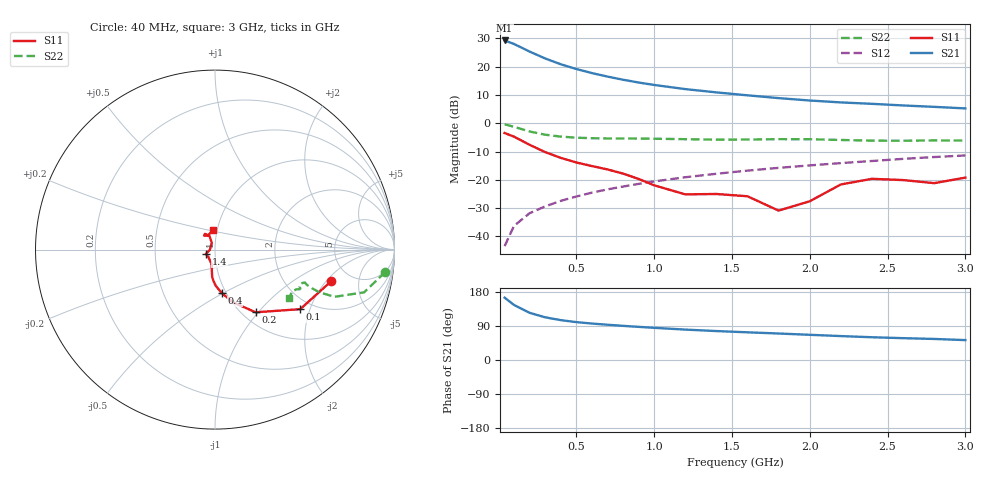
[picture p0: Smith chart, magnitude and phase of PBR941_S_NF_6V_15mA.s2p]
! Filename:  PBR941O.S2P  Version:  3.0
! Philips part #:  PBR941  Date: July 1998
! Bias condition:  Vce=6V, Ic=15mA
#  MHz  S  MA  R 50
! Freq  S11  S21  S12  S22
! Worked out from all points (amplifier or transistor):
!   21 points, 40 MHz to 3 GHz, reference 50 ohm
!   highest |S21| = 29.3 dB at 40 MHz (marker M1)
!   |S21| within 3 dB of that: start of sweep to 165.9 MHz
!   unconditionally stable (mu >= 1): 878.7 MHz to 2.29 GHz
!   at 300 MHz: K = 0.79, MSG = 26.2 dB, |S12| = -29.4 dB
!   at 1 GHz: K = 1.01, MAG = 16.4 dB, |S12| = -20.6 dB
!   at 3 GHz: K = 0.98, MSG = 8.3 dB, |S12| = -11.4 dB
!   lowest NFmin = 2.00 dB at 900 MHz
!   S11 on the Smith chart (normalised r, x): 40 MHz: 3.54, -2.27; 100 MHz: 1.72, -1.72; 200 MHz: 1.15, -0.97; 400 MHz: 0.95, -0.49; 1.4 GHz: 0.90, -0.04; 3 GHz: 0.95, +0.21
40  0.6708 -15.2  29.04 164.5  0.006709 82.7  0.9569 -7.5
100  0.5794 -34.9  25.2 145.4  0.01528 76.9  0.8644 -16.0
200  0.4163 -57.1  18.5 124.6  0.02559 71.9  0.7152 -21.6
300  0.309 -71.3  13.98 112.7  0.03385 72.3  0.6271 -22.2
400  0.2444 -81.2  11.04 105.2  0.04238 73.3  0.5802 -21.7
500  0.2027 -88.6  9.097 100.0  0.05051 75.1  0.5554 -21.2
600  0.1751 -92.9  7.707 96.2  0.05929 76.0  0.5431 -20.7
700  0.1528 -95.8  6.68 93.1  0.0676 77.2  0.5381 -20.4
800  0.1289 -97.6  5.878 90.2  0.07588 77.6  0.5371 -20.3
900  0.1038 -100.0  5.247 87.5  0.08453 77.9  0.5349 -20.2
1000  0.08004 -104.7  4.75 84.9  0.09347 78.0  0.532 -20.2
1200  0.05528 -132.0  4.011 80.3  0.1109 78.0  0.5221 -20.8
1400  0.05612 -154.0  3.509 76.4  0.1278 77.8  0.5124 -22.2
1600  0.05115 -156.4  3.112 73.1  0.1452 77.8  0.5144 -23.6
1800  0.02853 -179.3  2.778 69.9  0.1625 77.5  0.5226 -24.6
2000  0.04172 115.8  2.521 66.5  0.1796 76.8  0.521 -25.1
2200  0.08276 112.0  2.332 63.1  0.1973 75.8  0.5057 -25.9
2400  0.104 122.6  2.202 60.0  0.2149 75.3  0.4919 -27.9
2600  0.09888 128.0  2.06 57.6  0.2344 74.9  0.4897 -30.6
2800  0.08722 117.0  1.947 55.5  0.2526 74.2  0.4971 -32.4
3000  0.1094 96.0  1.827 52.5  0.2692 73.1  0.494 -32.9
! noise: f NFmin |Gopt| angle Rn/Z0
500  2.017  0.148  12.9  0.263
900  2.003  0.06  -23.43  0.197
1000  2.059  0.081  27.92  0.261
2000  2.623  0.131  -127.3  0.297
